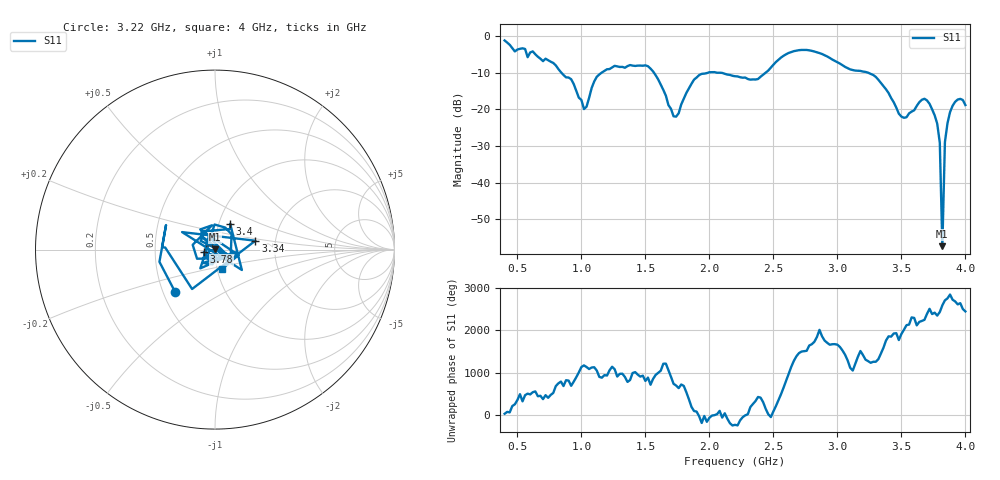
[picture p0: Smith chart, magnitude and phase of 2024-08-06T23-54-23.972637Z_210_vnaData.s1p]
!Created with skrf (http://scikit-rf.org).
# Hz S RI R 50.0
!freq ReS11 ImS11
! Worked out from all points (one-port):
!   181 points, 400 MHz to 4 GHz, reference 50 ohm
!   lowest |S11| = -57.3 dB at 3.82 GHz (marker M1), VSWR 1.00, Z = 50 + j0.133 ohm
!   |S11| at or under -10 dB: 1.567 GHz to 1.988 GHz (420.7 MHz wide, 23.7 % of centre); 2.086 GHz to 2.439 GHz (353.8 MHz wide, 15.6 % of centre); 3.241 GHz to end of sweep (the widest 3 of 4)
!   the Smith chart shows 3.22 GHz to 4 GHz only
!   S11 on the Smith chart (normalised r, x): 3.22 GHz: 0.58, -0.31; 3.34 GHz: 1.57, +0.16; 3.4 GHz: 1.13, +0.34; 3.78 GHz: 0.88, -0.02; 4 GHz: 1.06, -0.23
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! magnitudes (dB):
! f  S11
! 400 MHz  -1.2
! 860 MHz  -10.6
! 920 MHz  -11.8
! 1.02 GHz  -19.9
! 1.12 GHz  -11.1
! 1.3 GHz  -8.4
! 1.52 GHz  -8.2
! 1.6 GHz  -11.8
! 1.72 GHz  -21.9
! 1.76 GHz  -21.0
! 1.92 GHz  -10.6
! 2.2 GHz  -11.0
! 2.38 GHz  -11.7
! 2.66 GHz  -4.1
! 3.1 GHz  -9.1
! 3.22 GHz  -9.8
! 3.34 GHz  -12.8
! 3.4 GHz  -15.5
! 3.5 GHz  -21.9
! 3.56 GHz  -21.1
! 3.68 GHz  -17.1
! 3.78 GHz  -23.9
! 3.8 GHz  -29.1
! 3.82 GHz  -57.3
! 3.84 GHz  -28.9
! 3.86 GHz  -23.8
! 3.92 GHz  -17.9
! 4 GHz  -18.8
